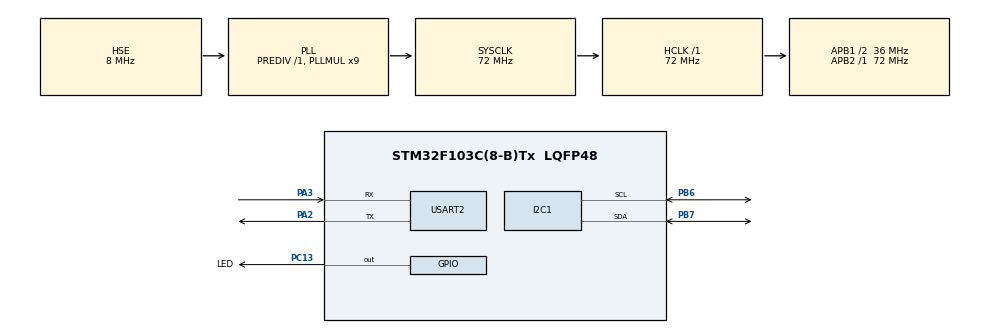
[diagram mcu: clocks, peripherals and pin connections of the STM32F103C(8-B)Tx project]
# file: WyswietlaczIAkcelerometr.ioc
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Mcu.Family=STM32F1
Mcu.Name=STM32F103C(8-B)Tx
Mcu.Package=LQFP48
NVIC.PriorityGroup=NVIC_PRIORITYGROUP_4
PA13.Mode=Trace_Asynchronous_SW
PA13.Signal=SYS_JTMS-SWDIO
PA14.Mode=Trace_Asynchronous_SW
PA14.Signal=SYS_JTCK-SWCLK
PA2.Mode=Asynchronous
PA2.Signal=USART2_TX
PA3.Mode=Asynchronous
PA3.Signal=USART2_RX
PB3.Mode=Trace_Asynchronous_SW
PB3.Signal=SYS_JTDO-TRACESWO
PB6.Mode=I2C
PB6.Signal=I2C1_SCL
PB7.Mode=I2C
PB7.Signal=I2C1_SDA
PC13-TAMPER-RTC.GPIO_Label=LED
PC13-TAMPER-RTC.Signal=GPIO_Output
PC14-OSC32_IN.Mode=LSE-External-Oscillator
PC14-OSC32_IN.Signal=RCC_OSC32_IN
PC15-OSC32_OUT.Mode=LSE-External-Oscillator
PC15-OSC32_OUT.Signal=RCC_OSC32_OUT
PD0-OSC_IN.Mode=HSE-External-Oscillator
PD0-OSC_IN.Signal=RCC_OSC_IN
PD1-OSC_OUT.Mode=HSE-External-Oscillator
PD1-OSC_OUT.Signal=RCC_OSC_OUT
ProjectManager.HeapSize=0x200
ProjectManager.StackSize=0x400
ProjectManager.TargetToolchain=STM32CubeIDE
RCC.AHBFreq_Value=72000000
RCC.APB1CLKDivider=RCC_HCLK_DIV2
RCC.APB1Freq_Value=36000000
RCC.APB1TimFreq_Value=72000000
RCC.APB2Freq_Value=72000000
RCC.APB2TimFreq_Value=72000000
RCC.HCLKFreq_Value=72000000
RCC.PLLMUL=RCC_PLL_MUL9
RCC.PLLSourceVirtual=RCC_PLLSOURCE_HSE
RCC.SYSCLKFreq_VALUE=72000000
RCC.SYSCLKSource=RCC_SYSCLKSOURCE_PLLCLK
RCC.USBFreq_Value=72000000
USART2.VirtualMode=VM_ASYNC
board=custom

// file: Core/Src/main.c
/* USER CODE BEGIN Header */
/**
  ******************************************************************************
  * @file           : main.c
  * @brief          : Main program body
  ******************************************************************************
  * @attention
  *
  * <h2><center>&copy; Copyright (c) 2020 STMicroelectronics.
  * All rights reserved.</center></h2>
  *
  * This software component is licensed by ST under BSD 3-Clause license,
  * the "License"; You may not use this file except in compliance with the
  * License. You may obtain a copy of the License at:
  *                        opensource.org/licenses/BSD-3-Clause
  *
  ******************************************************************************
  */
/* USER CODE END Header */

#include "main.h"
#include "i2c.h"
#include "usart.h"
#include "gpio.h"

/* USER CODE BEGIN Includes */
#include "lcd_i2c.h"
#include <stdbool.h>
#include <stdio.h>
/* USER CODE END Includes */

/* USER CODE BEGIN PV */
struct lcd_disp disp;
/* USER CODE END PV */

void SystemClock_Config(void);

int main(void)
{

  /* MCU Configuration--------------------------------------------------------*/

  /* Reset of all peripherals, Initializes the Flash interface and the Systick. */
  HAL_Init();

  /* Configure the system clock */
  SystemClock_Config();

  /* Initialize all configured peripherals */
  MX_GPIO_Init();
  MX_I2C1_Init();
  MX_USART2_UART_Init();
  /* USER CODE BEGIN 2 */

  uint8_t n=12;
 uint8_t addr2= (0x3F <<1);
HAL_I2C_Mem_Read(&hi2c1, addr2, 14, 1, &n,1, 1000);

  HAL_Delay(500);
lcd_init(&disp);

  disp.addr = (0x3F << 1);
  disp.bl = true;

  sprintf((char *)disp.f_line, "To 1. linia");
  sprintf((char *)disp.s_line, "a to druga linia");
  lcd_display(&disp);
  /* USER CODE END 2 */

  /* Infinite loop */
  /* USER CODE BEGIN WHILE */
  while (1)
  {
	  	  sprintf((char *)disp.f_line, "     ******");
	  	  sprintf((char *)disp.s_line, "");
	  	  HAL_Delay(500);
	  	  lcd_display(&disp);
	  	  sprintf((char *)disp.f_line, "");
	  	  sprintf((char *)disp.s_line, "     ******");
	  	  HAL_Delay(500);
	  	  lcd_display(&disp);
	  	  HAL_GPIO_TogglePin(LED_GPIO_Port, LED_Pin);

    /* USER CODE END WHILE */

  }
}

void SystemClock_Config(void)
{
  RCC_OscInitTypeDef RCC_OscInitStruct = {0};
  RCC_ClkInitTypeDef RCC_ClkInitStruct = {0};

  /** Initializes the CPU, AHB and APB busses clocks
  */
  RCC_OscInitStruct.OscillatorType = RCC_OSCILLATORTYPE_HSE;
  RCC_OscInitStruct.HSEState = RCC_HSE_ON;
  RCC_OscInitStruct.HSEPredivValue = RCC_HSE_PREDIV_DIV1;
  RCC_OscInitStruct.HSIState = RCC_HSI_ON;
  RCC_OscInitStruct.PLL.PLLState = RCC_PLL_ON;
  RCC_OscInitStruct.PLL.PLLSource = RCC_PLLSOURCE_HSE;
  RCC_OscInitStruct.PLL.PLLMUL = RCC_PLL_MUL9;
  if (HAL_RCC_OscConfig(&RCC_OscInitStruct) != HAL_OK)
  {
    Error_Handler();
  }
  /** Initializes the CPU, AHB and APB busses clocks
  */
  RCC_ClkInitStruct.ClockType = RCC_CLOCKTYPE_HCLK|RCC_CLOCKTYPE_SYSCLK
                              |RCC_CLOCKTYPE_PCLK1|RCC_CLOCKTYPE_PCLK2;
  RCC_ClkInitStruct.SYSCLKSource = RCC_SYSCLKSOURCE_PLLCLK;
  RCC_ClkInitStruct.AHBCLKDivider = RCC_SYSCLK_DIV1;
  RCC_ClkInitStruct.APB1CLKDivider = RCC_HCLK_DIV2;
  RCC_ClkInitStruct.APB2CLKDivider = RCC_HCLK_DIV1;

  if (HAL_RCC_ClockConfig(&RCC_ClkInitStruct, FLASH_LATENCY_2) != HAL_OK)
  {
    Error_Handler();
  }
}

void Error_Handler(void)
{
}

/************************ (C) COPYRIGHT STMicroelectronics *****END OF FILE****/
